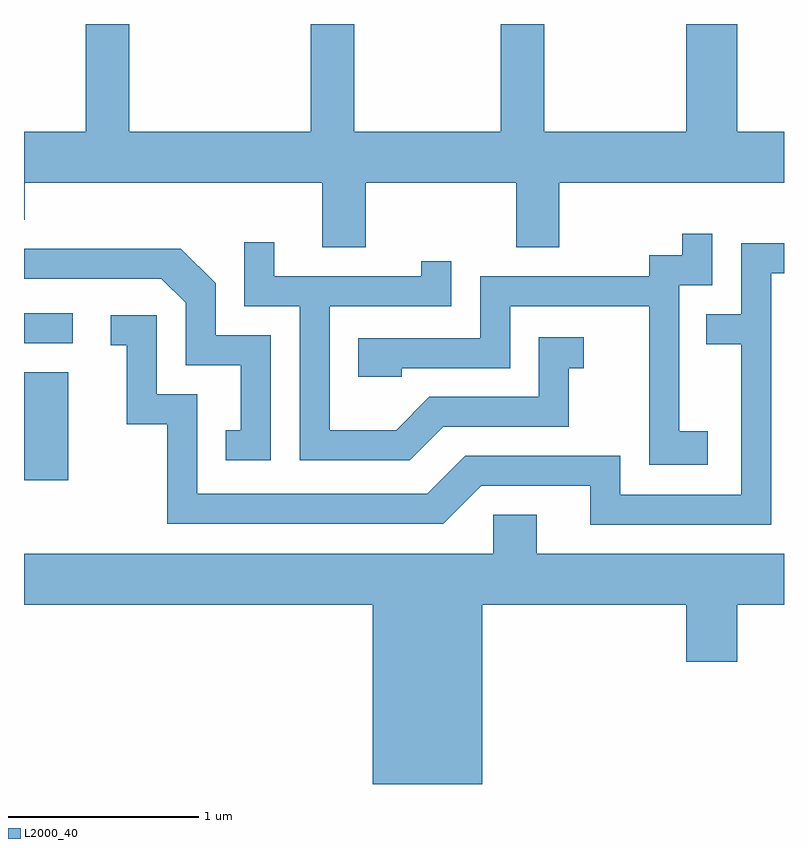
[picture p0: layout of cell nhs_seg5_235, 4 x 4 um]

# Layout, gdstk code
import gdstk
lib = gdstk.Library(unit=1e-6, precision=1e-09)
def R(c, l, rs):  # rectangles x0, y0, x1, y1
    for r in rs: c.add(gdstk.rectangle(r[:2], r[2:], *l))
def P(c, l, *ps):  # polygons
    for p in ps: c.add(gdstk.Polygon(p, *l))
L2000_40 = (2000, 40)

nhs_seg5_235 = lib.new_cell('nhs_seg5_235')
R(nhs_seg5_235, L2000_40, [(191.611,1459.671,191.844,1460.239), (191.611,1460.391,191.868,1460.549)])
P(nhs_seg5_235, L2000_40, [(193.409,1461.236),(194.201,1461.236),(194.201,1460.896),(194.429,1460.896),(194.429,1461.236),(195.611,1461.236),(195.611,1461.504),(195.364,1461.504),(195.364,1462.072),(195.096,1462.072),(195.096,1461.504),(194.349,1461.504),(194.349,1462.072),(194.121,1462.072),(194.121,1461.504),(193.349,1461.504),(193.349,1462.072),(193.121,1462.072),(193.121,1461.504),(192.164,1461.504),(192.164,1462.072),(191.936,1462.072),(191.936,1461.504),(191.611,1461.504),(191.611,1461.041),(191.614,1461.041),(191.614,1461.236),(193.181,1461.236),(193.181,1460.896),(193.409,1460.896)],
  [(195.209,1459.929),(195.059,1459.929),(195.059,1460.696),(195.234,1460.696),(195.234,1460.968),(195.076,1460.968),(195.076,1460.854),(194.901,1460.854),(194.901,1460.744),(194.011,1460.744),(194.011,1460.419),(193.371,1460.419),(193.371,1460.216),(193.599,1460.216),(193.599,1460.261),(194.169,1460.261),(194.169,1460.586),(194.901,1460.586),(194.901,1459.751),(195.209,1459.751)],
  [(193.817,1459.951),(194.479,1459.951),(194.479,1460.261),(194.558,1460.261),(194.558,1460.424),(194.321,1460.424),(194.321,1460.109),(193.744,1460.109),(193.569,1459.934),(193.219,1459.934),(193.219,1460.586),(193.859,1460.586),(193.859,1460.823),(193.701,1460.823),(193.701,1460.744),(192.929,1460.744),(192.929,1460.923),(192.771,1460.923),(192.771,1460.586),(193.061,1460.586),(193.061,1459.776),(193.642,1459.776)],
  [(195.544,1460.761),(195.611,1460.761),(195.611,1460.919),(195.386,1460.919),(195.386,1460.544),(195.203,1460.544),(195.203,1460.386),(195.386,1460.386),(195.386,1459.594),(194.749,1459.594),(194.749,1459.799),(193.934,1459.799),(193.734,1459.599),(192.524,1459.599),(192.524,1460.124),(192.309,1460.124),(192.309,1460.539),(192.068,1460.539),(192.068,1460.381),(192.151,1460.381),(192.151,1459.966),(192.366,1459.966),(192.366,1459.441),(193.817,1459.441),(194.017,1459.641),(194.591,1459.641),(194.591,1459.436),(195.544,1459.436)],
  [(192.909,1460.434),(192.619,1460.434),(192.619,1460.707),(192.437,1460.889),(191.611,1460.889),(191.611,1460.731),(192.334,1460.731),(192.461,1460.604),(192.461,1460.276),(192.751,1460.276),(192.751,1459.934),(192.673,1459.934),(192.673,1459.776),(192.909,1459.776)],
  [(194.024,1459.016),(195.096,1459.016),(195.096,1458.716),(195.364,1458.716),(195.364,1459.016),(195.611,1459.016),(195.611,1459.284),(194.309,1459.284),(194.309,1459.489),(194.081,1459.489),(194.081,1459.284),(191.611,1459.284),(191.611,1459.016),(193.446,1459.016),(193.446,1458.072),(194.024,1458.072)])

lib.write_gds('nhs_seg5_235.gds')
